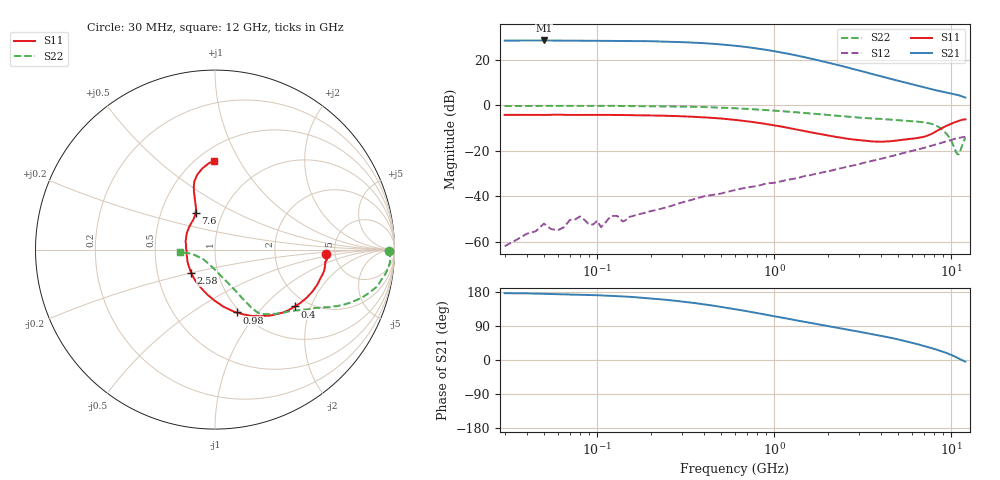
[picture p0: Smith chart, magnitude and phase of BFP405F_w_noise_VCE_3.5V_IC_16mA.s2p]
! Infineon Technologies  Discrete & RF Semiconductors
! BFP405F
! VCE =  3.5 V,  IC =  16 mA
! Common Emitter S-Parameters:  Nov 2015
# GHz  S  MA  R  50
!  f  S11  S21  S12  S22
! GHz  MAG  ANG  MAG  ANG  MAG  ANG  MAG  ANG
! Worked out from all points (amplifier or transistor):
!   239 points, 30 MHz to 12 GHz, reference 50 ohm
!   highest |S21| = 28.6 dB at 50 MHz (marker M1)
!   |S21| within 3 dB of that: start of sweep to 715.3 MHz
!   unconditionally stable (mu >= 1): start of sweep to 33.88 MHz; 1.939 GHz to end of sweep
!   at 300 MHz: K = 0.36, MSG = 35.3 dB, |S12| = -42.7 dB
!   at 1.88 GHz: K = 0.99, MSG = 24.4 dB, |S12| = -29.4 dB
!   at 12 GHz: K = 1.37, MAG = 5.0 dB, |S12| = -13.8 dB
!   lowest NFmin = 2.03 dB at 450 MHz
!   S11 on the Smith chart (normalised r, x): 30 MHz: 4.24, -0.36; 400 MHz: 1.72, -1.55; 980 MHz: 0.96, -0.78; 2.58 GHz: 0.74, -0.20; 7.6 GHz: 0.75, +0.32; 12 GHz: 0.60, +0.79
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0.03  0.6208 -2.4  26.77 176.3  0.0008 30.1  0.971 -0.3
0.04  0.6224 -3.3  26.75 175.8  0.0015 65.0  0.9765 -0.7
0.05  0.6175 -4.3  26.91 174.6  0.0025 125.2  0.979 -1.2
0.085  0.6193 -7.8  26.5 171.9  0.003 57.5  0.978 -2.6
0.145  0.6127 -13.7  26.25 167.4  0.003 55.3  0.9754 -4.9
0.2  0.603 -18.7  25.92 162.3  0.0047 76.5  0.966 -7.0
0.24  0.5938 -22.2  25.39 159.2  0.0056 81.9  0.9587 -8.3
0.3  0.5782 -27.3  24.77 154.4  0.0073 71.6  0.9431 -10.1
0.4  0.5467 -35.4  23.46 146.9  0.01 80.4  0.9228 -13.1
0.46  0.5282 -40.0  22.6 142.9  0.0109 75.3  0.9043 -14.6
0.6  0.481 -49.7  20.58 134.1  0.0138 76.7  0.8665 -17.7
0.76  0.4301 -59.3  18.42 125.8  0.0164 72.0  0.8245 -20.4
0.98  0.3702 -71.1  15.82 116.2  0.0197 71.3  0.7728 -23.5
1.3  0.3006 -86.0  12.86 105.4  0.0245 70.8  0.7115 -26.8
1.64  0.2523 -100.1  10.57 97.0  0.03 70.9  0.661 -29.4
2.06  0.2142 -116.9  8.584 88.6  0.0363 70.5  0.6115 -33.0
2.58  0.1855 -135.4  6.864 80.3  0.0443 69.0  0.5666 -36.7
3.4  0.164 -160.1  5.175 70.1  0.0573 66.9  0.5228 -42.0
4.5  0.1632 172.9  3.887 59.1  0.0753 63.4  0.4904 -46.9
7.6  0.2294 118.1  2.304 32.4  0.1273 50.7  0.3999 -57.0
10.8  0.4459 100.6  1.708 5.9  0.1899 32.1  0.0852 -118.1
12  0.4938 90.4  1.492 -4.2  0.2046 25.1  0.1954 -175.6
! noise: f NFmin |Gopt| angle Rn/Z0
0.45  2.03  0.08  1  0.37
0.9  2.05  0.07  3  0.39
1.5  2.1  0.06  5  0.16
1.9  2.15  0.05  6  0.27
2.4  2.3  0.02  -8  0.38
3  2.38  0.02  -67  0.22
3.5  2.44  0.03  -99  0.35
4.5  2.65  0.09  -97  0.43
5.5  2.93  0.18  -88  0.16
